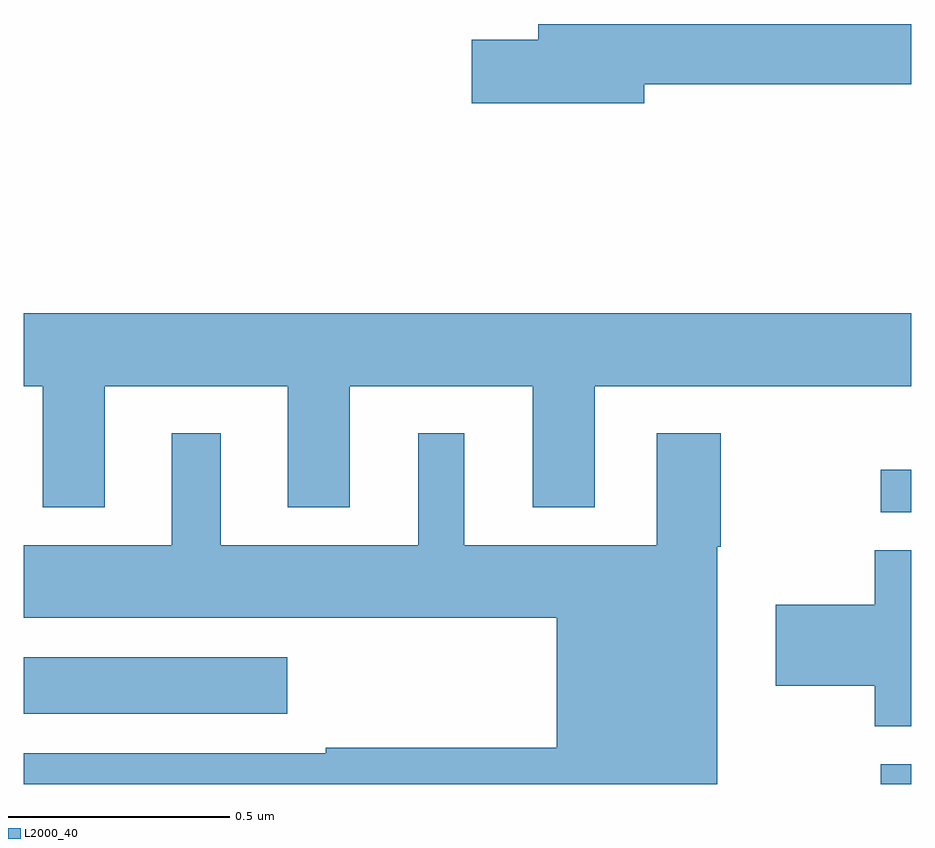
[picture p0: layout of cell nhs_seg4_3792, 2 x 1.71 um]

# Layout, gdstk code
import gdstk
lib = gdstk.Library(unit=1e-6, precision=1e-09)
def R(c, l, rs):  # rectangles x0, y0, x1, y1
    for r in rs: c.add(gdstk.rectangle(r[:2], r[2:], *l))
def P(c, l, *ps):  # polygons
    for p in ps: c.add(gdstk.Polygon(p, *l))
L2000_40 = (2000, 40)

nhs_seg4_3792 = lib.new_cell('nhs_seg4_3792')
R(nhs_seg4_3792, L2000_40, [(158.931,819.9,159,819.945), (157,820.058,157.594,820.186), (158.931,820.512,159,820.608)])
P(nhs_seg4_3792, L2000_40, [(158.398,821.476),(159,821.476),(159,821.612),(158.159,821.612),(158.159,821.576),(158.01,821.576),(158.01,821.434),(158.398,821.434)],
  [(157.183,820.796),(157.595,820.796),(157.595,820.523),(157.735,820.523),(157.735,820.796),(158.147,820.796),(158.147,820.523),(158.287,820.523),(158.287,820.796),(159,820.796),(159,820.96),(157,820.96),(157,820.796),(157.043,820.796),(157.043,820.523),(157.183,820.523)],
  [(158.563,820.434),(158.571,820.434),(158.571,820.69),(158.426,820.69),(158.426,820.438),(157.993,820.438),(157.993,820.69),(157.889,820.69),(157.889,820.438),(157.444,820.438),(157.444,820.69),(157.334,820.69),(157.334,820.438),(157,820.438),(157,820.274),(158.201,820.274),(158.201,819.982),(157.681,819.982),(157.681,819.969),(157,819.969),(157,819.9),(158.563,819.9)],
  [(159,820.427),(158.917,820.427),(158.917,820.304),(158.694,820.304),(158.694,820.121),(158.917,820.121),(158.917,820.03),(159,820.03)])

lib.write_gds('nhs_seg4_3792.gds')
